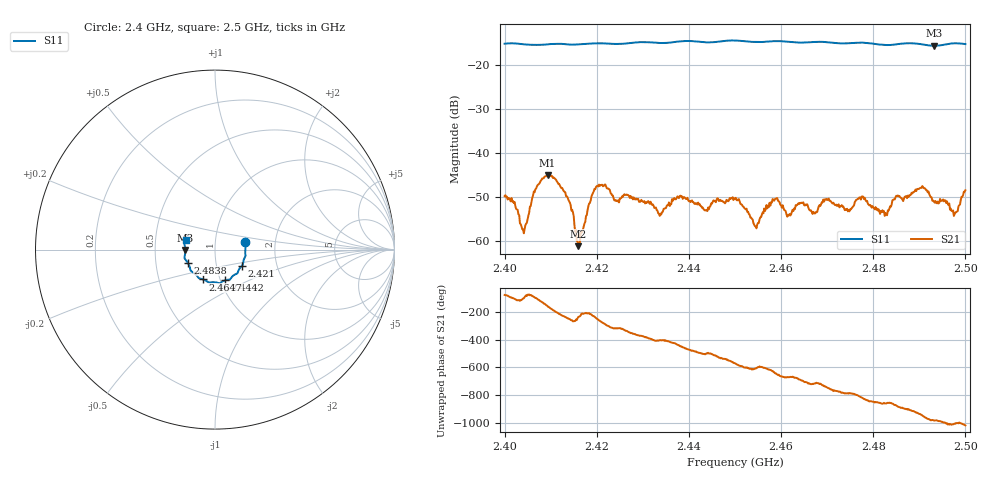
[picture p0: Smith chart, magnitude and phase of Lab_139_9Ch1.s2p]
# Hz S RI R 50
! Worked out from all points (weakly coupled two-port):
!   601 points, 2.4 GHz to 2.5 GHz, reference 50 ohm
!   highest |S21| = -45.10 dB at 2.4093 GHz (marker M1); lowest = -61.2 dB at 2.416 GHz (marker M2)
!   lowest |S11| = -15.7 dB at 2.4932 GHz (marker M3), VSWR 1.39, Z = 35.9 - j0.119 ohm
!   |S11| at or under -10 dB: start of sweep to end of sweep
!   S12 and S22 are empty: the file has one direction only
!   S11 on the Smith chart (normalised r, x): 2.4 GHz: 1.40, +0.12; 2.421 GHz: 1.33, -0.24; 2.4442 GHz: 1.05, -0.37; 2.4647 GHz: 0.83, -0.28; 2.4838 GHz: 0.73, -0.11; 2.5 GHz: 0.71, +0.08
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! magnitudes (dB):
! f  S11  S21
! 2.4 GHz  -15.2  -49.8
! 2.4042 GHz  -15.3  -58.3
! 2.4093 GHz  -15.3  -45.1
! 2.4137 GHz  -15.3  -50.1
! 2.416 GHz  -15.3  -61.2
! 2.4167 GHz  -15.3  -58.2
! 2.421 GHz  -15.1  -47.3
! 2.4333 GHz  -15.0  -53.7
! 2.438 GHz  -14.7  -49.8
! 2.4442 GHz  -14.9  -52.4
! 2.45 GHz  -14.5  -50.4
! 2.4545 GHz  -14.8  -56.8
! 2.4587 GHz  -14.6  -50.5
! 2.4617 GHz  -14.8  -54.2
! 2.4647 GHz  -14.9  -51.4
! 2.4667 GHz  -14.8  -53.4
! 2.4833 GHz  -15.5  -53.1
! 2.4838 GHz  -15.5  -52.3
! 2.4905 GHz  -15.3  -48.0
! 2.4932 GHz  -15.7  -51.1
! 2.4978 GHz  -15.1  -53.5
! 2.5 GHz  -15.3  -48.5
